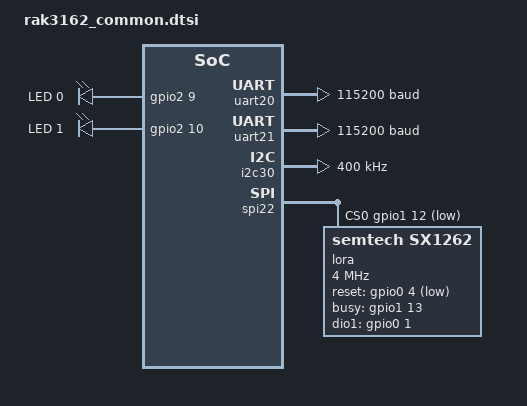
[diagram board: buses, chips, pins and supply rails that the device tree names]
/*
 * Copyright (c) 2026 RAK Wireless
 * SPDX-License-Identifier: Apache-2.0
 */

#include <zephyr/dt-bindings/lora/sx126x.h>
#include "rak3162-pinctrl.dtsi"

/ {
	leds {
		compatible = "gpio-leds";

		led0: led_0 {
			gpios = <&gpio2 9 GPIO_ACTIVE_HIGH>;
			label = "LED 0";
		};

		led1: led_1 {
			gpios = <&gpio2 10 GPIO_ACTIVE_HIGH>;
			label = "LED 1";
		};
	};

	aliases {
		led0 = &led0;
		led1 = &led1;
		watchdog0 = &wdt31;
		lora0 = &lora;
	};
};


/* UART0 - debug UART, 115200 bps */
&uart20 {
	current-speed = <115200>;
	pinctrl-0 = <&uart20_default>;
	pinctrl-1 = <&uart20_sleep>;
	pinctrl-names = "default", "sleep";
};

/* UART1 - secondary UART, 115200 bps */
&uart21 {
	current-speed = <115200>;
	pinctrl-0 = <&uart21_default>;
	pinctrl-1 = <&uart21_sleep>;
	pinctrl-names = "default", "sleep";
};

/* I2C - 400 kHz fast mode */
&i2c30 {
	pinctrl-0 = <&i2c30_default>;
	pinctrl-1 = <&i2c30_sleep>;
	pinctrl-names = "default", "sleep";
	clock-frequency = <400000>;
};

/*
 * LoRa SPI (spi22) - on-board SX1262
 * DIO2 drives RTC66006 RF switch; ANT_SW (P0.00) is a separate regulator
 * in rak3162_nrf54l15_cpuapp.dts.
 */
&spi22 {
	pinctrl-0 = <&spi22_default>;
	pinctrl-1 = <&spi22_sleep>;
	pinctrl-names = "default", "sleep";
	overrun-character = <0>;
	cs-gpios = <&gpio1 12 GPIO_ACTIVE_LOW>;

	lora: lora@0 {
		compatible = "semtech,sx1262";
		reg = <0>;
		spi-max-frequency = <DT_FREQ_M(4)>;
		reset-gpios = <&gpio0 4 GPIO_ACTIVE_LOW>;
		busy-gpios  = <&gpio1 13 GPIO_ACTIVE_HIGH>;
		dio1-gpios  = <&gpio0 1 (GPIO_ACTIVE_HIGH | GPIO_PULL_DOWN)>;
		dio2-tx-enable;
		dio3-tcxo-voltage = <SX126X_DIO3_TCXO_1V8>;
		tcxo-power-startup-delay-ms = <5>;
	};
};

/* External SPI (spi00) - CS on P2.05, active-low */
&spi00 {
	max-frequency = <DT_FREQ_M(4)>;
	cs-gpios = <&gpio2 5 GPIO_ACTIVE_LOW>;
	pinctrl-0 = <&spi00_default>;
	pinctrl-1 = <&spi00_sleep>;
	pinctrl-names = "default", "sleep";
};
